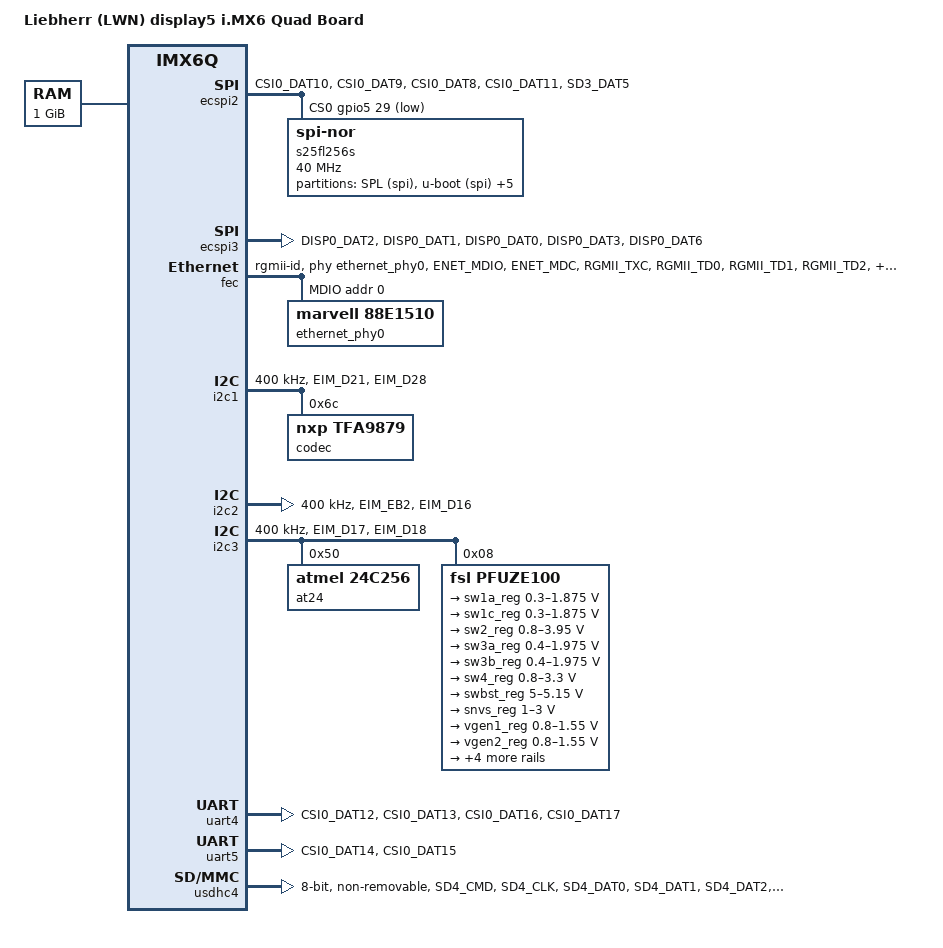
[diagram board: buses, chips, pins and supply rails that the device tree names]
/*
 * Copyright 2017
 * Lukasz Majewski, DENX Software Engineering, lukma@denx.de
 *
 * This program is free software; you can redistribute it and/or modify
 * it under the terms of the GNU General Public License version 2 as
 * published by the Free Software Foundation.
 *
 */

/dts-v1/;

#include <dt-bindings/gpio/gpio.h>
#include "imx6q.dtsi"

/ {
	model = "Liebherr (LWN) display5 i.MX6 Quad Board";
	compatible = "lwn,display5", "fsl,imx6q";

	memory@10000000 {
		device_type = "memory";
		reg = <0x10000000 0x40000000>;
	};
};

&ecspi2 {
	cs-gpios = <&gpio5 29 GPIO_ACTIVE_LOW>;
	pinctrl-names = "default";
	pinctrl-0 = <&pinctrl_ecspi2 &pinctrl_ecspi2_cs &pinctrl_ecspi2_flwp>;
	status = "okay";

	s25fl256s: flash@0 {
		#address-cells = <1>;
		#size-cells = <1>;
		compatible = "jedec,spi-nor";
		spi-max-frequency = <40000000>;
		reg = <0>;

		partition@0 {
			label = "SPL (spi)";
			reg = <0x0 0x20000>;
			read-only;
		};
		partition@1 {
			label = "u-boot (spi)";
			reg = <0x20000 0x100000>;
			read-only;
		};
		partition@2 {
			label = "uboot-env (spi)";
			reg = <0x120000 0x10000>;
		};
		partition@3 {
			label = "uboot-envr (spi)";
			reg = <0x130000 0x10000>;
		};
		partition@4 {
			label = "linux-recovery (spi)";
			reg = <0x140000 0x800000>;
		};
		partition@5 {
			label = "swupdate-fitImg (spi)";
			reg = <0x940000 0x400000>;
		};
		partition@6 {
			label = "swupdate-initramfs (spi)";
			reg = <0xD40000 0x800000>;
		};
	};
};

&ecspi3 {
	cs-gpios = <&gpio4 24 GPIO_ACTIVE_LOW>;
	pinctrl-names = "default";
	pinctrl-0 = <&pinctrl_ecspi3 &pinctrl_ecspi3_cs &pinctrl_ecspi3_flwp>;
	status = "okay";
};

&fec {
	pinctrl-names = "default";
	pinctrl-0 = <&pinctrl_enet>;
	phy-handle = <&ethernet_phy0>;
	phy-mode = "rgmii-id";
	status = "okay";

	mdio {
		#address-cells = <1>;
		#size-cells = <0>;
		ethernet_phy0: ethernet-phy@0 {
			compatible = "marvell,88E1510";
			device_type = "ethernet-phy";
			/* Set LED0 control: */
			/* On - Link, Blink - Activity, Off - No Link */
			marvell,reg-init = <3 0x10 0 0x1011>;
			max-speed = <100>;
			reg = <0>;
		};
	};
};

&i2c1 {
	clock-frequency = <400000>;
	pinctrl-names = "default";
	pinctrl-0 = <&pinctrl_i2c1>;
	status = "okay";

	codec: tfa9879@6c {
		#sound-dai-cells = <0>;
		compatible = "nxp,tfa9879";
		reg = <0x6C>;
	};
};

&i2c2 {
	clock-frequency = <400000>;
	pinctrl-names = "default";
	pinctrl-0 = <&pinctrl_i2c2>;
	status = "okay";
};

&i2c3 {
	clock-frequency = <400000>;
	pinctrl-names = "default";
	pinctrl-0 = <&pinctrl_i2c3>;
	status = "okay";

	at24@50 {
		compatible = "atmel,24c256";
		pagesize = <64>;
		reg = <0x50>;
	};

	pfuze100: pmic@8 {
		compatible = "fsl,pfuze100";
		reg = <0x08>;

		regulators {
			sw1a_reg: sw1ab {
				regulator-min-microvolt = <300000>;
				regulator-max-microvolt = <1875000>;
				regulator-boot-on;
				regulator-always-on;
				regulator-ramp-delay = <6250>;
			};

			sw1c_reg: sw1c {
				regulator-min-microvolt = <300000>;
				regulator-max-microvolt = <1875000>;
				regulator-boot-on;
				regulator-always-on;
				regulator-ramp-delay = <6250>;
			};

			sw2_reg: sw2 {
				regulator-min-microvolt = <800000>;
				regulator-max-microvolt = <3950000>;
				regulator-boot-on;
				regulator-always-on;
			};

			sw3a_reg: sw3a {
				regulator-min-microvolt = <400000>;
				regulator-max-microvolt = <1975000>;
				regulator-boot-on;
				regulator-always-on;
			};

			sw3b_reg: sw3b {
				regulator-min-microvolt = <400000>;
				regulator-max-microvolt = <1975000>;
				regulator-boot-on;
				regulator-always-on;
			};

			sw4_reg: sw4 {
				regulator-min-microvolt = <800000>;
				regulator-max-microvolt = <3300000>;
			};

			swbst_reg: swbst {
				regulator-min-microvolt = <5000000>;
				regulator-max-microvolt = <5150000>;
			};

			snvs_reg: vsnvs {
				regulator-min-microvolt = <1000000>;
				regulator-max-microvolt = <3000000>;
				regulator-boot-on;
				regulator-always-on;
			};

			vref_reg: vrefddr {
				regulator-boot-on;
				regulator-always-on;
			};

			vgen1_reg: vgen1 {
				regulator-min-microvolt = <800000>;
				regulator-max-microvolt = <1550000>;
			};

			vgen2_reg: vgen2 {
				regulator-min-microvolt = <800000>;
				regulator-max-microvolt = <1550000>;
			};

			vgen3_reg: vgen3 {
				regulator-min-microvolt = <1800000>;
				regulator-max-microvolt = <3300000>;
			};

			vgen4_reg: vgen4 {
				regulator-min-microvolt = <1800000>;
				regulator-max-microvolt = <3300000>;
				regulator-always-on;
			};

			vgen5_reg: vgen5 {
				regulator-min-microvolt = <1800000>;
				regulator-max-microvolt = <3300000>;
				regulator-always-on;
			};

			vgen6_reg: vgen6 {
				regulator-min-microvolt = <1800000>;
				regulator-max-microvolt = <3300000>;
				regulator-always-on;
			};
		};
	};
};

&uart4 {
	pinctrl-names = "default";
	pinctrl-0 = <&pinctrl_uart4>;
	uart-has-rtscts;
	status = "okay";
};

&uart5 {
	pinctrl-names = "default";
	pinctrl-0 = <&pinctrl_uart5>;
	status = "okay";
};

&usdhc4 {
	pinctrl-names = "default";
	pinctrl-0 = <&pinctrl_usdhc4>;
	bus-width = <8>;
	non-removable;
	status = "okay";
};

&iomuxc {
	pinctrl_ecspi2: ecspi2grp {
		fsl,pins = <
			MX6QDL_PAD_CSI0_DAT10__ECSPI2_MISO	0x100b1
			MX6QDL_PAD_CSI0_DAT9__ECSPI2_MOSI	0x100b1
			MX6QDL_PAD_CSI0_DAT8__ECSPI2_SCLK	0x100b1
		>;
	};

	pinctrl_ecspi2_cs: ecspi2csgrp {
		fsl,pins = <
			MX6QDL_PAD_CSI0_DAT11__GPIO5_IO29 0x100b1
		>;
	};

	pinctrl_ecspi2_flwp: ecspi2flwpgrp {
		fsl,pins = <
			MX6QDL_PAD_SD3_DAT5__GPIO7_IO00 0x1b0b0
		>;
	};

	pinctrl_ecspi3: ecspi3grp {
		fsl,pins = <
			MX6QDL_PAD_DISP0_DAT2__ECSPI3_MISO	0x100b1
			MX6QDL_PAD_DISP0_DAT1__ECSPI3_MOSI	0x100b1
			MX6QDL_PAD_DISP0_DAT0__ECSPI3_SCLK	0x100b1
		>;
	};

	pinctrl_ecspi3_cs: ecspi3csgrp {
		fsl,pins = <
			MX6QDL_PAD_DISP0_DAT3__GPIO4_IO24 0x1b0b0
		>;
	};

	pinctrl_ecspi3_flwp: ecspi3flwpgrp {
		fsl,pins = <
			MX6QDL_PAD_DISP0_DAT6__GPIO4_IO27 0x1b0b0
		>;
	};

	pinctrl_enet: enetgrp {
		fsl,pins = <
			MX6QDL_PAD_ENET_MDIO__ENET_MDIO		0x1b0b0
			MX6QDL_PAD_ENET_MDC__ENET_MDC		0x1b0b0
			MX6QDL_PAD_RGMII_TXC__RGMII_TXC		0x1b0b0
			MX6QDL_PAD_RGMII_TD0__RGMII_TD0		0x1b0b0
			MX6QDL_PAD_RGMII_TD1__RGMII_TD1		0x1b0b0
			MX6QDL_PAD_RGMII_TD2__RGMII_TD2		0x1b0b0
			MX6QDL_PAD_RGMII_TD3__RGMII_TD3		0x1b0b0
			MX6QDL_PAD_RGMII_TX_CTL__RGMII_TX_CTL	0x1b0b0
			MX6QDL_PAD_ENET_REF_CLK__ENET_TX_CLK	0x1b0b0
			MX6QDL_PAD_RGMII_RXC__RGMII_RXC		0x1b0b0
			MX6QDL_PAD_RGMII_RD0__RGMII_RD0		0x1b0b0
			MX6QDL_PAD_RGMII_RD1__RGMII_RD1		0x1b0b0
			MX6QDL_PAD_RGMII_RD2__RGMII_RD2		0x1b0b0
			MX6QDL_PAD_RGMII_RD3__RGMII_RD3		0x1b0b0
			MX6QDL_PAD_RGMII_RX_CTL__RGMII_RX_CTL	0x1b0b0
			MX6QDL_PAD_GPIO_16__ENET_REF_CLK 0x4001b0a8
			MX6QDL_PAD_GPIO_6__ENET_IRQ		0x000b1
			MX6QDL_PAD_ENET_RXD0__GPIO1_IO27        0x1b0b0
		>;
	};

	pinctrl_i2c1: i2c1grp {
		fsl,pins = <
			MX6QDL_PAD_EIM_D21__I2C1_SCL	0x4001b8b1
			MX6QDL_PAD_EIM_D28__I2C1_SDA	0x4001b8b1
		>;
	};

	pinctrl_i2c2: i2c2grp {
		fsl,pins = <
			MX6QDL_PAD_EIM_EB2__I2C2_SCL	0x4001b8b1
			MX6QDL_PAD_EIM_D16__I2C2_SDA	0x4001b8b1
		>;
	};

	pinctrl_i2c3: i2c3grp {
		fsl,pins = <
			MX6QDL_PAD_EIM_D17__I2C3_SCL	0x4001b8b1
			MX6QDL_PAD_EIM_D18__I2C3_SDA	0x4001b8b1
		>;
	};

	pinctrl_uart4: uart4grp {
		fsl,pins = <
			MX6QDL_PAD_CSI0_DAT12__UART4_TX_DATA	0x1b0b1
			MX6QDL_PAD_CSI0_DAT13__UART4_RX_DATA	0x1b0b1
			MX6QDL_PAD_CSI0_DAT16__UART4_RTS_B	0x1b0b1
			MX6QDL_PAD_CSI0_DAT17__UART4_CTS_B	0x1b0b1
		>;
	};

	pinctrl_uart5: uart5grp {
		fsl,pins = <
			MX6QDL_PAD_CSI0_DAT14__UART5_TX_DATA	0x1b0b1
			MX6QDL_PAD_CSI0_DAT15__UART5_RX_DATA    0x1b0b1
		>;
	};

	pinctrl_usdhc4: usdhc4grp {
		fsl,pins = <
			MX6QDL_PAD_SD4_CMD__SD4_CMD		0x17059
			MX6QDL_PAD_SD4_CLK__SD4_CLK		0x10059
			MX6QDL_PAD_SD4_DAT0__SD4_DATA0		0x17059
			MX6QDL_PAD_SD4_DAT1__SD4_DATA1		0x17059
			MX6QDL_PAD_SD4_DAT2__SD4_DATA2		0x17059
			MX6QDL_PAD_SD4_DAT3__SD4_DATA3		0x17059
			MX6QDL_PAD_SD4_DAT4__SD4_DATA4		0x17059
			MX6QDL_PAD_SD4_DAT5__SD4_DATA5		0x17059
			MX6QDL_PAD_SD4_DAT6__SD4_DATA6		0x17059
			MX6QDL_PAD_SD4_DAT7__SD4_DATA7		0x17059
			MX6QDL_PAD_NANDF_ALE__SD4_RESET	0x17059
		>;
	};
};
